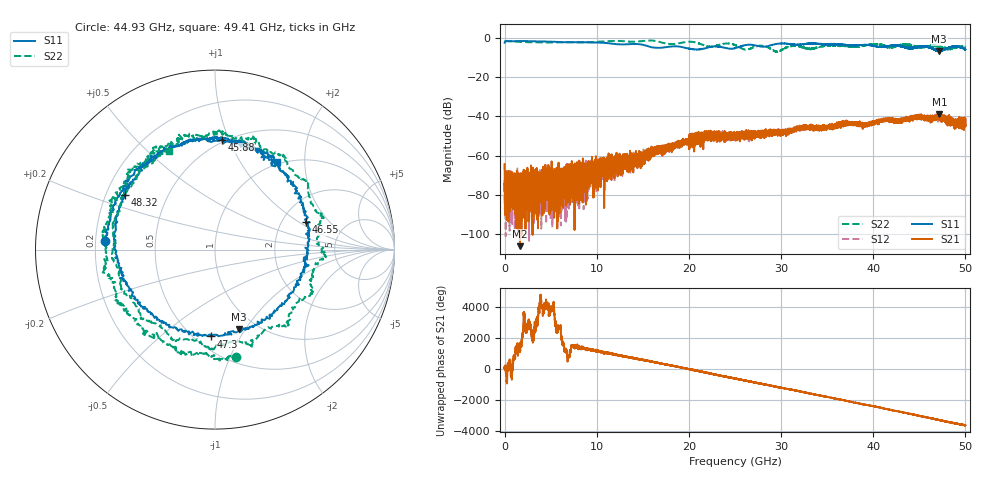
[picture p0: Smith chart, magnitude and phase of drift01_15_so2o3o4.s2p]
!Created with skrf (http://scikit-rf.org).
# Hz S RI R 50.0
!freq ReS11 ImS11 ReS21 ImS21 ReS12 ImS12 ReS22 ImS22
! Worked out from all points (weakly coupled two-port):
!   10001 points, 300 kHz to 50 GHz, reference 50 ohm
!   highest |S21| = -38.72 dB at 47.19 GHz (marker M1); lowest = -106.4 dB at 1.66 GHz (marker M2)
!   lowest |S11| = -6.7 dB at 47.17 GHz (marker M3), VSWR 2.73, Z = 41.4 - j46.9 ohm
!   |S11| at or under -10 dB: nowhere
!   |S22| runs from -6.9 to -1.0 dB; largest |S21 - S12| = 0.0042
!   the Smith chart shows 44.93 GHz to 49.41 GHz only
!   S11 on the Smith chart (normalised r, x): 44.93 GHz: 0.24, +0.04; 45.88 GHz: 0.48, +0.94; 46.55 GHz: 2.69, +1.14; 47.3 GHz: 0.60, -0.76; 48.32 GHz: 0.28, +0.26; 49.41 GHz: 0.96, +1.47
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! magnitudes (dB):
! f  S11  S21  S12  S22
! 300 kHz  -2.2  -64.4  -84.4  -1.3
! 255.3 MHz  -1.4  -77.9  -76.6  -1.4
! 1.66 GHz  -1.4  -106.4  -76.0  -1.8
! 5.58 GHz  -1.8  -73.8  -72.4  -2.0
! 8.335 GHz  -2.0  -66.3  -69.8  -2.1
! 8.825 GHz  -2.0  -85.2  -66.1  -2.0
! 16.67 GHz  -4.8  -56.0  -56.2  -1.6
! 21.89 GHz  -4.9  -48.7  -49.2  -3.8
! 25 GHz  -5.0  -49.1  -49.1  -3.4
! 29.52 GHz  -2.9  -48.0  -47.8  -6.7
! 31.27 GHz  -3.1  -47.4  -47.4  -4.0
! 33.34 GHz  -2.6  -45.3  -45.4  -5.3
! 41.67 GHz  -3.9  -41.9  -41.9  -4.5
! 44.93 GHz  -4.3  -40.0  -40.7  -4.3
! 45.88 GHz  -4.3  -40.9  -40.8  -4.2
! 46.55 GHz  -5.6  -40.6  -40.6  -3.9
! 47.17 GHz  -6.7  -41.2  -40.4  -4.2
! 47.19 GHz  -6.5  -38.7  -40.7  -4.4
! 47.3 GHz  -6.3  -40.2  -40.4  -4.1
! 48.32 GHz  -4.6  -41.4  -42.1  -5.4
! 49.41 GHz  -4.4  -44.0  -44.3  -4.3
! 50 GHz  -5.7  -44.1  -43.6  -4.3
